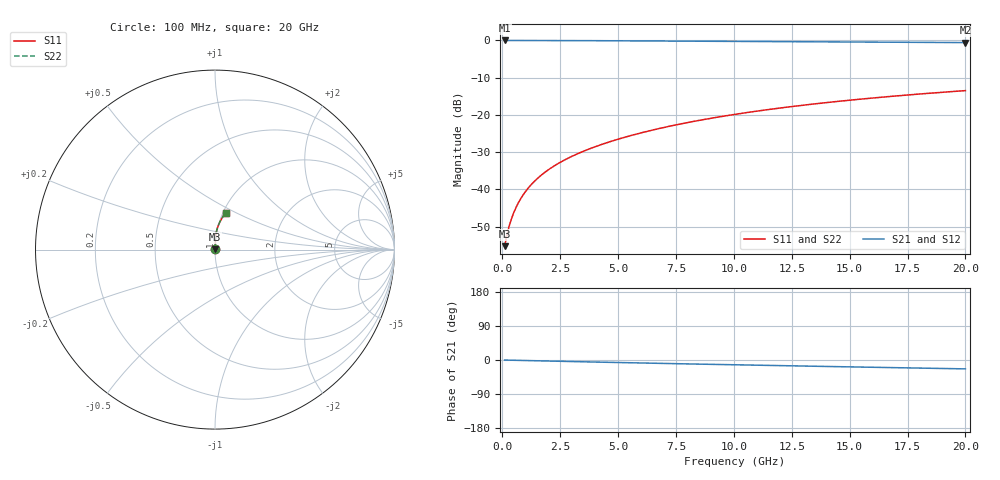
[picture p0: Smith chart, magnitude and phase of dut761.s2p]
! Touchstone file exported from HFSS 2024.1.0
!  File:  C:/UserFiles/LocalFiles/RDL_TSV_Batchsim/temp_RDL_bottom_761_1779860210.aedt
!  Generated:  01:39:01 PM May 27, 2026
!  Design:  RDL_bottom
!  Project:  temp_RDL_bottom_761_1779860210
!  Setup:  Setup1
!  Solution:  Sweep
! Variables:
!  dtsv = 10.80580581um
!  hbump = 3um
!  htsv = 68.48um
!  ldown = 347.83um
!  lrdl = 100um
!  p = 40
!  p1 = 42.31um
!  rhole = 1um
!  t = 450um
!  tdown = 4.67um
!  trdl = 3.915915916um
!  wdown = 21.8um
!  wrdl = 20um
# GHz S MA R 50.000000
! Terminal data exported
! Port[1] = RDL1_T1
! Port[2] = RDL1_T2
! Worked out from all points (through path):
!   200 points, 100 MHz to 20 GHz, reference 50 ohm
!   highest |S21| = -0.01 dB at 100 MHz (marker M1); lowest = -0.6 dB at 20 GHz (marker M2)
!   group delay of S21, straight-line fit = 3.22 ps
!   lowest |S11| = -55.3 dB at 100 MHz (marker M3), VSWR 1.00, Z = 50.1 + j0.104 ohm
!   |S11| at or under -10 dB: start of sweep to end of sweep
!   |S22| runs from -55.3 to -13.5 dB; largest |S21 - S12| = 2.7e-15
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0.1  0.001724 36.8  0.9986 -0.1  0.9986 -0.1  0.001724 36.8
! Gamma 0 0 0 0
! Port Impedance 50 0 50 0
0.2  0.002449 53.2  0.9985 -0.3  0.9985 -0.3  0.002449 53.2
0.3  0.003233 62.0  0.9984 -0.4  0.9984 -0.4  0.003233 62.0
0.4  0.004054 67.7  0.9983 -0.6  0.9983 -0.6  0.004054 67.7
0.5  0.004902 71.5  0.9982 -0.7  0.9982 -0.7  0.004902 71.5
0.6  0.005767 74.3  0.9981 -0.8  0.9981 -0.8  0.005767 74.3
0.8  0.007529 78.0  0.9979 -1.1  0.9979 -1.1  0.007529 78.0
1.1  0.01021 81.1  0.9976 -1.5  0.9976 -1.5  0.01021 81.1
1.5  0.01383 83.5  0.9971 -2.1  0.9971 -2.1  0.01383 83.5
1.8  0.01657 84.6  0.9967 -2.5  0.9967 -2.5  0.01657 84.6
2.1  0.01932 85.4  0.9961 -2.9  0.9961 -2.9  0.01932 85.4
2.7  0.02487 86.5  0.9949 -3.7  0.9949 -3.7  0.02487 86.5
3.5  0.03241 87.4  0.9928 -4.7  0.9928 -4.7  0.03241 87.4
4.2  0.03918 87.8  0.9907 -5.7  0.9907 -5.7  0.03918 87.9
5  0.04713 88.1  0.9881 -6.7  0.9881 -6.7  0.04713 88.1
6.8  0.06582 87.8  0.9818 -8.9  0.9818 -8.9  0.06583 87.8
8.4  0.08321 86.9  0.976 -10.8  0.976 -10.8  0.08322 86.9
10.1  0.1022 85.4  0.9698 -12.7  0.9698 -12.7  0.1022 85.4
11.7  0.1202 83.7  0.964 -14.5  0.964 -14.5  0.1203 83.7
13.4  0.1395 81.8  0.958 -16.4  0.958 -16.4  0.1395 81.8
16.7  0.1762 77.8  0.9465 -20.0  0.9465 -20.0  0.1762 77.8
20  0.2117 73.8  0.9349 -23.4  0.9349 -23.4  0.2117 73.8
